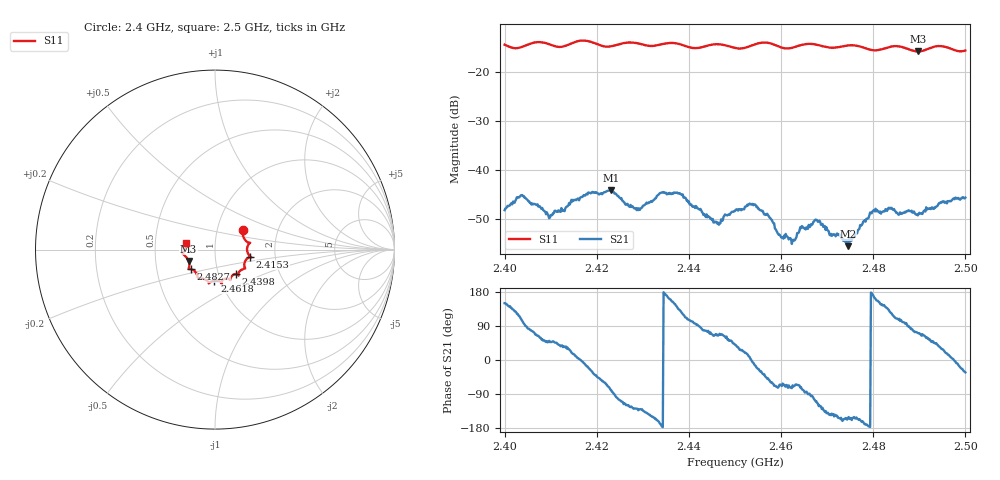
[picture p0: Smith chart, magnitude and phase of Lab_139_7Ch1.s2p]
# Hz S RI R 50
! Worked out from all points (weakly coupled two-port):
!   601 points, 2.4 GHz to 2.5 GHz, reference 50 ohm
!   highest |S21| = -44.14 dB at 2.4232 GHz (marker M1); lowest = -55.5 dB at 2.4745 GHz (marker M2)
!   lowest |S11| = -15.9 dB at 2.4897 GHz (marker M3), VSWR 1.38, Z = 36.9 - j4.8 ohm
!   |S11| at or under -10 dB: start of sweep to end of sweep
!   S12 and S22 are empty: the file has one direction only
!   S11 on the Smith chart (normalised r, x): 2.4 GHz: 1.33, +0.29; 2.4153 GHz: 1.48, -0.12; 2.4398 GHz: 1.21, -0.34; 2.4618 GHz: 0.94, -0.33; 2.4827 GHz: 0.75, -0.17; 2.5 GHz: 0.72, +0.06
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2.4e9  0.155 0.1065  -0.00338 0.00195  0 0  0 0
2.403833e9  0.1722 0.049  -0.00126 0.00541  0 0  0 0
2.409833e9  0.1867 0.0287  0.00222 0.00241  0 0  0 0
2.415333e9  0.1967 -0.039  0.00491 0.000924  0 0  0 0
2.416667e9  0.2025 -0.043  0.00531 -0.000169  0 0  0 0
2.423167e9  0.163 -0.0787  0.00108 -0.00611  0 0  0 0
2.428833e9  0.163 -0.1059  -0.00256 -0.00318  0 0  0 0
2.433333e9  0.1297 -0.1341  -0.00528 -0.00177  0 0  0 0
2.4375e9  0.1305 -0.1421  -0.00438 0.00394  0 0  0 0
2.439833e9  0.1152 -0.136  -0.00139 0.0045  0 0  0 0
2.446167e9  0.0842 -0.1704  0.00112 0.00262  0 0  0 0
2.45e9  0.065 -0.1618  0.00292 0.00248  0 0  0 0
2.454333e9  0.0355 -0.1864  0.00433 -0.00109  0 0  0 0
2.461833e9  -0.00304 -0.1728  0.000636 -0.00192  0 0  0 0
2.466667e9  -0.0345 -0.1883  -0.000194 -0.00276  0 0  0 0
2.468e9  -0.036 -0.1831  -0.00125 -0.00269  0 0  0 0
2.4745e9  -0.0914 -0.1605  -0.0015 -0.000749  0 0  0 0
2.479667e9  -0.1075 -0.1266  -0.00362 0.000257  0 0  0 0
2.482667e9  -0.1351 -0.1088  -0.00305 0.00259  0 0  0 0
2.483333e9  -0.1403 -0.1083  -0.00279 0.00304  0 0  0 0
2.489667e9  -0.1473 -0.0634  0.00109 0.00328  0 0  0 0
2.5e9  -0.1593 0.0391  0.00441 -0.00283  0 0  0 0
